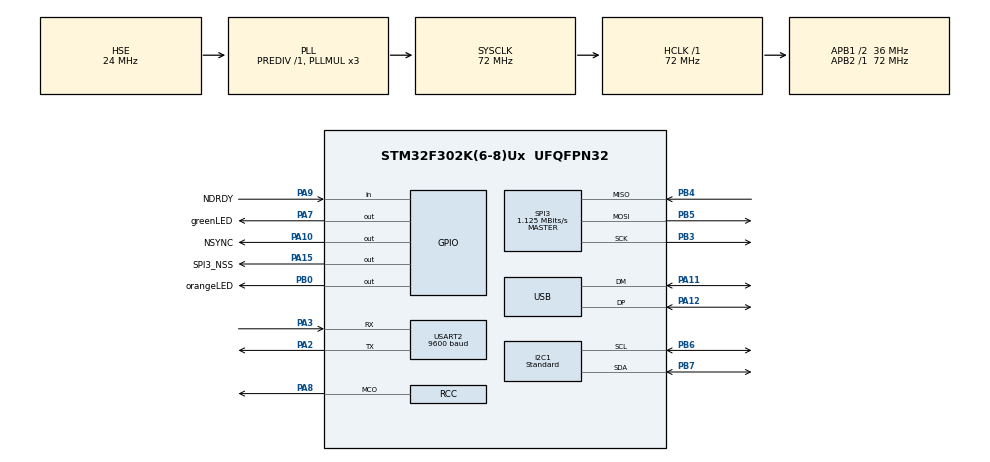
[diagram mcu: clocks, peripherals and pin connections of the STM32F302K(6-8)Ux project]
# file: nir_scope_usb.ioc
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I2C1.I2C_Speed_Mode=I2C_Standard
Mcu.Family=STM32F3
Mcu.Name=STM32F302K(6-8)Ux
Mcu.Package=UFQFPN32
NVIC.PriorityGroup=NVIC_PRIORITYGROUP_4
NVIC.USB_LP_CAN_RX0_IRQn=true\:0\:0\:false\:false\:true\:false\:true
PA10.GPIO_Label=NSYNC
PA10.PinState=GPIO_PIN_SET
PA10.Signal=GPIO_Output
PA11.Mode=Device
PA11.Signal=USB_DM
PA12.Mode=Device
PA12.Signal=USB_DP
PA13.Mode=Serial_Wire
PA13.Signal=SYS_JTMS-SWDIO
PA14.Mode=Serial_Wire
PA14.Signal=SYS_JTCK-SWCLK
PA15.GPIO_Label=SPI3_NSS
PA15.PinState=GPIO_PIN_SET
PA15.Signal=GPIO_Output
PA2.Mode=Asynchronous
PA2.Signal=USART2_TX
PA3.Mode=Asynchronous
PA3.Signal=USART2_RX
PA7.GPIO_Label=greenLED
PA7.PinState=GPIO_PIN_SET
PA7.Signal=GPIO_Output
PA8.GPIO_PuPd=GPIO_NOPULL
PA8.GPIO_Speed=GPIO_SPEED_FREQ_HIGH
PA8.Mode=Clock-out
PA8.Signal=RCC_MCO
PA9.GPIO_Label=NDRDY
PA9.Signal=GPIO_Input
PB0.GPIO_Label=orangeLED
PB0.PinState=GPIO_PIN_SET
PB0.Signal=GPIO_Output
PB3.Mode=Full_Duplex_Master
PB3.Signal=SPI3_SCK
PB4.Mode=Full_Duplex_Master
PB4.Signal=SPI3_MISO
PB5.Mode=Full_Duplex_Master
PB5.Signal=SPI3_MOSI
PB6.Mode=I2C
PB6.Signal=I2C1_SCL
PB7.Mode=I2C
PB7.Signal=I2C1_SDA
PF0-OSC_IN.Mode=HSE-External-Oscillator
PF0-OSC_IN.Signal=RCC_OSC_IN
PF1-OSC_OUT.Mode=HSE-External-Oscillator
PF1-OSC_OUT.Signal=RCC_OSC_OUT
ProjectManager.HeapSize=0x400
ProjectManager.StackSize=0x400
ProjectManager.TargetToolchain=MDK-ARM V5
RCC.AHBFreq_Value=72000000
RCC.APB1CLKDivider=RCC_HCLK_DIV2
RCC.APB1Freq_Value=36000000
RCC.APB1TimFreq_Value=72000000
RCC.APB2Freq_Value=72000000
RCC.APB2TimFreq_Value=72000000
RCC.CortexFreq_Value=72000000
RCC.HCLKFreq_Value=72000000
RCC.HSE_VALUE=24000000
RCC.HSI_VALUE=8000000
RCC.PLLMUL=RCC_PLL_MUL3
RCC.PRESCALERUSB=RCC_USBCLKSOURCE_PLL_DIV1_5
RCC.RCC_MCOMult_Clock_Source_FROM_PLLMUL=RCC_MCO1SOURCE_PLLCLK_DIV2
RCC.RCC_MCOSource=RCC_MCO1SOURCE_HSI
RCC.SYSCLKFreq_VALUE=72000000
RCC.SYSCLKSourceVirtual=RCC_SYSCLKSOURCE_PLLCLK
RCC.USBFreq_Value=48000000
SPI3.BaudRatePrescaler=SPI_BAUDRATEPRESCALER_32
SPI3.CLKPhase=SPI_PHASE_2EDGE
SPI3.CLKPolarity=SPI_POLARITY_LOW
SPI3.CalculateBaudRate=1.125 MBits/s
SPI3.DataSize=SPI_DATASIZE_8BIT
SPI3.Direction=SPI_DIRECTION_2LINES
SPI3.Mode=SPI_MODE_MASTER
SPI3.VirtualType=VM_MASTER
USART2.BaudRate=9600
USART2.VirtualMode-Asynchronous=VM_ASYNC
USB_DEVICE.CLASS_NAME_FS=CDC
USB_DEVICE.MANUFACTURER_STRING=Real Recycling Deutschland GmbH
USB_DEVICE.PRODUCT_STRING_CDC_FS=Plastic Type Sensor Prototype
USB_DEVICE.USBD_SELF_POWERED=0
USB_DEVICE.VirtualMode=Cdc
USB_DEVICE.VirtualModeFS=Cdc_FS
VP_USB_DEVICE_VS_USB_DEVICE_CDC_FS.Mode=CDC_FS
board=custom

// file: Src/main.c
/* USER CODE BEGIN Header */
/**
  ******************************************************************************
  * @file           : main.c
  * @brief          : Main program body
  ******************************************************************************
  * @attention
  *
  * <h2><center>&copy; Copyright (c) 2019 STMicroelectronics.
  * All rights reserved.</center></h2>
  *
  * This software component is licensed by ST under Ultimate Liberty license
  * SLA0044, the "License"; You may not use this file except in compliance with
  * the License. You may obtain a copy of the License at:
  *                             www.st.com/SLA0044
  *
  ******************************************************************************
  */
/* USER CODE END Header */

#include "main.h"
#include "i2c.h"
#include "spi.h"
#include "usart.h"
#include "usb_device.h"
#include "gpio.h"

/* USER CODE BEGIN Includes */
#include <usbd_cdc_if.h>
#include <TLC59208.h>
#include <ADS1255.h>
/* USER CODE END Includes */

/* USER CODE BEGIN PV */
uint8_t START_MEASUREMENT;
int32_t measurements[8];
uint8_t output_message[100];

uint8_t wakeup[20] = "WAKEUP\r\n";
uint8_t ok[20] = "CMD=OK\r\n";
uint8_t error[20] = "CMD=ERROR\r\n";
uint8_t unknown[20] = "CMD=UNKNOWN\r\n";
uint8_t cmd1[20] = "CMD=1\r\n";
uint8_t cmd2[20] = "CMD=2\r\n";
uint8_t measure_finish[20] = "MEASURE=FINISH\r\n";

/* USER CODE END PV */

void SystemClock_Config(void);
/* USER CODE BEGIN PFP */
void measurePlastic();
/* USER CODE END PFP */

int main(void)
{

  /* MCU Configuration--------------------------------------------------------*/

  /* Reset of all peripherals, Initializes the Flash interface and the Systick. */
  HAL_Init();

  /* Configure the system clock */
  SystemClock_Config();

  /* Initialize all configured peripherals */
  MX_GPIO_Init();
  MX_SPI3_Init();
  MX_I2C1_Init();
  MX_USB_DEVICE_Init();
  MX_USART2_UART_Init();
  /* USER CODE BEGIN 2 */
  HAL_Delay(500);

  //initialize led driver and analog digital converter
  TLC59208_init(&hi2c1);
  ADS1255_init(&hspi3);

  HAL_Delay(500);

  CDC_Transmit_FS(wakeup, strlen((char *)wakeup));
  /* USER CODE END 2 */

  /* Infinite loop */
  /* USER CODE BEGIN WHILE */
  while (1)
  {
    if(START_MEASUREMENT)
    {
      measurePlastic();
    }
    /* USER CODE END WHILE */

    /* USER CODE BEGIN 3 */
    measurements[0] = ADC_read_data(&hspi3);
  }
  /* USER CODE END 3 */
}

void SystemClock_Config(void)
{
  RCC_OscInitTypeDef RCC_OscInitStruct = {0};
  RCC_ClkInitTypeDef RCC_ClkInitStruct = {0};
  RCC_PeriphCLKInitTypeDef PeriphClkInit = {0};

  /** Initializes the CPU, AHB and APB busses clocks
  */
  RCC_OscInitStruct.OscillatorType = RCC_OSCILLATORTYPE_HSI|RCC_OSCILLATORTYPE_HSE;
  RCC_OscInitStruct.HSEState = RCC_HSE_ON;
  RCC_OscInitStruct.HSEPredivValue = RCC_HSE_PREDIV_DIV1;
  RCC_OscInitStruct.HSIState = RCC_HSI_ON;
  RCC_OscInitStruct.HSICalibrationValue = RCC_HSICALIBRATION_DEFAULT;
  RCC_OscInitStruct.PLL.PLLState = RCC_PLL_ON;
  RCC_OscInitStruct.PLL.PLLSource = RCC_PLLSOURCE_HSE;
  RCC_OscInitStruct.PLL.PLLMUL = RCC_PLL_MUL3;
  if (HAL_RCC_OscConfig(&RCC_OscInitStruct) != HAL_OK)
  {
    Error_Handler();
  }
  /** Initializes the CPU, AHB and APB busses clocks
  */
  RCC_ClkInitStruct.ClockType = RCC_CLOCKTYPE_HCLK|RCC_CLOCKTYPE_SYSCLK
                              |RCC_CLOCKTYPE_PCLK1|RCC_CLOCKTYPE_PCLK2;
  RCC_ClkInitStruct.SYSCLKSource = RCC_SYSCLKSOURCE_PLLCLK;
  RCC_ClkInitStruct.AHBCLKDivider = RCC_SYSCLK_DIV1;
  RCC_ClkInitStruct.APB1CLKDivider = RCC_HCLK_DIV2;
  RCC_ClkInitStruct.APB2CLKDivider = RCC_HCLK_DIV1;

  if (HAL_RCC_ClockConfig(&RCC_ClkInitStruct, FLASH_LATENCY_2) != HAL_OK)
  {
    Error_Handler();
  }
  PeriphClkInit.PeriphClockSelection = RCC_PERIPHCLK_USB|RCC_PERIPHCLK_I2C1;
  PeriphClkInit.I2c1ClockSelection = RCC_I2C1CLKSOURCE_HSI;
  PeriphClkInit.USBClockSelection = RCC_USBCLKSOURCE_PLL_DIV1_5;
  if (HAL_RCCEx_PeriphCLKConfig(&PeriphClkInit) != HAL_OK)
  {
    Error_Handler();
  }
  HAL_RCC_MCOConfig(RCC_MCO, RCC_MCO1SOURCE_HSI, RCC_MCODIV_1);
}

/* USER CODE BEGIN 4 */
void CDC_Receive_Callback(uint8_t *buf, uint32_t len)
{

  if(strncmp((char *)buf, cmd1, strlen((char *)buf)) == 0){
  //start measurement "CMD=1"
    CDC_Transmit_FS(ok, strlen((char *)ok));
    START_MEASUREMENT = 1;

  }else{
    if(strncmp((char *)buf, cmd2, strlen((char *)buf)) == 0){
    //start demo blink lights "CMD=1"
      CDC_Transmit_FS(ok, strlen((char *)ok));
    }else{
    //the command is unknown
      CDC_Transmit_FS(unknown, strlen((char *)unknown));
    }
  }

  HAL_GPIO_TogglePin(orangeLED_GPIO_Port, orangeLED_Pin);
}

void measurePlastic(){
  memset(output_message,'0',sizeof(output_message));
  for(int j = 0; j<3; j++)
  {
    for(int i = 0; i<8; i++)
    {
          HAL_GPIO_TogglePin(greenLED_GPIO_Port,greenLED_Pin);
          if(j == 1){
            TLC59208_writeSingleLED(&hi2c1, i, 0xFF);
          }else{
            TLC59208_writeSingleLED(&hi2c1, i, 0x00);
          }
          measurements[i] = 0;
          measurements[i] = ADC_read_data(&hspi3);
          TLC59208_writeSingleLED(&hi2c1, i, 0x00);
    }

    switch(j){
      case 0:
        sprintf(output_message, "MEASURE=PRE %d %d %d %d %d %d %d %d\r\n", measurements[0], measurements[1], measurements[2], measurements[3], measurements[4], measurements[5], measurements[6], measurements[7] );
        break;
      case 1:
        sprintf(output_message, "MEASURE=VALUE %d %d %d %d %d %d %d %d\r\n", measurements[0], measurements[1], measurements[2], measurements[3], measurements[4], measurements[5], measurements[6], measurements[7] );
        break;
      case 2:
        sprintf(output_message, "MEASURE=POST %d %d %d %d %d %d %d %d\r\n", measurements[0], measurements[1], measurements[2], measurements[3], measurements[4], measurements[5], measurements[6], measurements[7] );
        break;
      default:
        sprintf(output_message, "MEASURE=OTHER %d %d %d %d %d %d %d %d\r\n", measurements[0], measurements[1], measurements[2], measurements[3], measurements[4], measurements[5], measurements[6], measurements[7] );
        break;
    }

    CDC_Transmit_FS(output_message, strlen((char *)output_message));
  }
  HAL_Delay(10);
  CDC_Transmit_FS(measure_finish, strlen((char *)measure_finish));
  START_MEASUREMENT = 0;
  HAL_GPIO_WritePin(greenLED_GPIO_Port,greenLED_Pin, SET);
  HAL_GPIO_WritePin(orangeLED_GPIO_Port, orangeLED_Pin, SET);

}
/* USER CODE END 4 */

void Error_Handler(void)
{
  while(1){}
}

/************************ (C) COPYRIGHT STMicroelectronics *****END OF FILE****/
